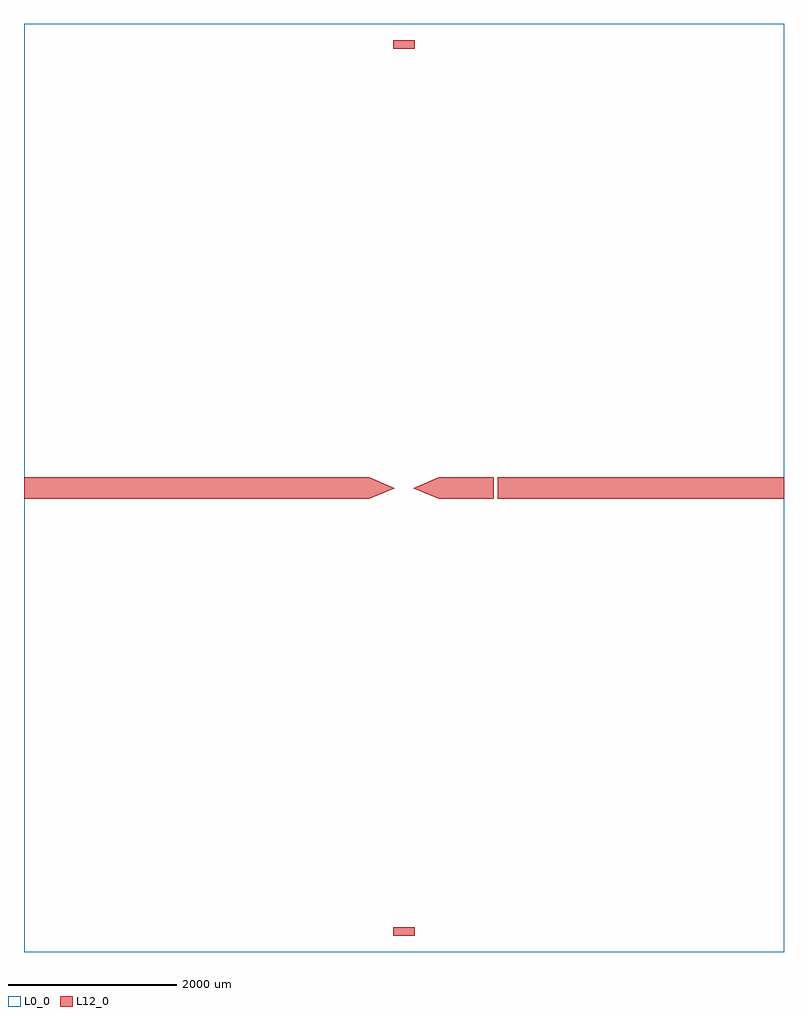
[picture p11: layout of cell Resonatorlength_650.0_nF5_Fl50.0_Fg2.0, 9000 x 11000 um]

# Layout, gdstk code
import gdstk
lib = gdstk.Library(unit=1e-6, precision=1e-09)
def R(c, l, rs):  # rectangles x0, y0, x1, y1
    for r in rs: c.add(gdstk.rectangle(r[:2], r[2:], *l))
def A(c, l, x, y, w, h, nx, ny, dx, dy):  # array of equal rectangles
    R(c, l, [(x+i*dx, y+j*dy, x+i*dx+w, y+j*dy+h) for i in range(nx) for j in range(ny)])
def P(c, l, *ps):  # polygons
    for p in ps: c.add(gdstk.Polygon(p, *l))
L0_0 = (0, 0)
L12_0 = (12, 0)

resonatorlength_650_0_nf = lib.new_cell('Resonatorlength_650.0_nF5_Fl50.0_Fg2.0')
R(resonatorlength_650_0_nf, L0_0, [(-4500,-5500,4500,5500)])
A(resonatorlength_650_0_nf, L12_0, -1114, -125, 50, 48.4, 1, 3, 0, 100.8)
R(resonatorlength_650_0_nf, L12_0, [(-125,-5300,125,-5200), (-4500,-125,-1114,125), (-1062,-125,-412,125), (412,-125,1062,125), (1112,-125,4500,125), (-1112,-74.6,-1062,-26.2), (-1112,26.2,-1062,74.6), (-125,5200,125,5300)])
P(resonatorlength_650_0_nf, L12_0, [(-412,125),(-412,-125),(-108.5,0)],
  [(412,125),(412,-125),(108.5,0)])

lib.write_gds('Resonatorlength_650.0_nF5_Fl50.0_Fg2.0.gds')
